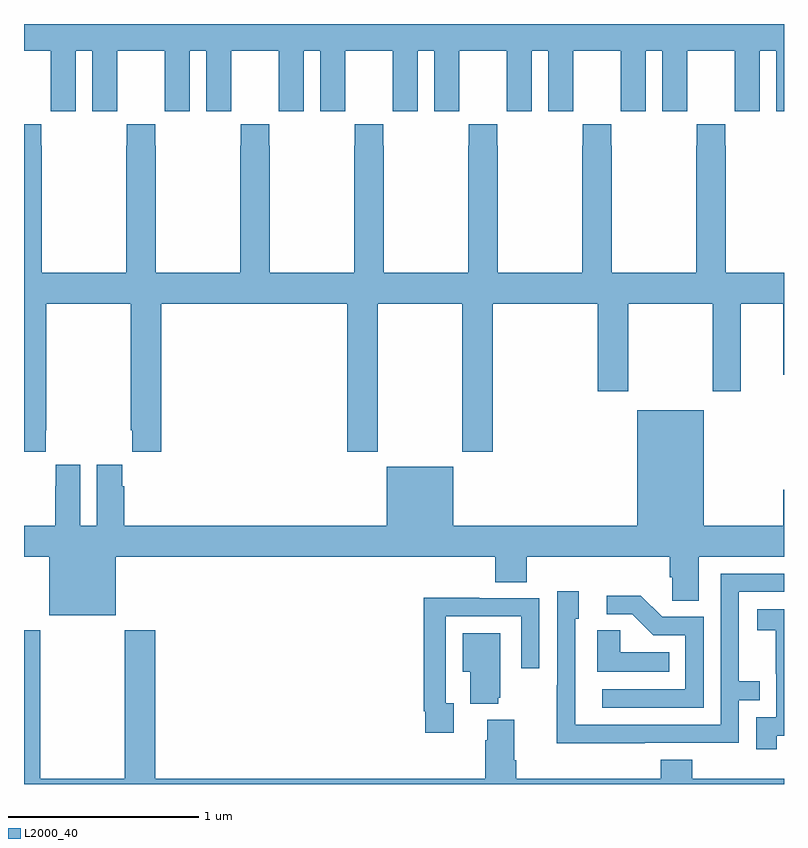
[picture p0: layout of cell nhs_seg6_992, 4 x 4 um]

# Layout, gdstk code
import gdstk
lib = gdstk.Library(unit=1e-6, precision=1e-09)
def P(c, l, *ps):  # polygons
    for p in ps: c.add(gdstk.Polygon(p, *l))
L2000_40 = (2000, 40)

nhs_seg6_992 = lib.new_cell('nhs_seg6_992')
P(nhs_seg6_992, L2000_40, [(173,923.36),(173.141,923.36),(173.141,923.152),(173.142,923.152),(173.142,923.04),(173.272,923.04),(173.272,923.36),(173.36,923.36),(173.36,923.04),(173.49,923.04),(173.49,923.152),(173.491,923.152),(173.491,923.36),(173.741,923.36),(173.741,923.152),(173.742,923.152),(173.742,923.04),(173.872,923.04),(173.872,923.36),(173.96,923.36),(173.96,923.04),(174.09,923.04),(174.09,923.152),(174.091,923.152),(174.091,923.36),(174.341,923.36),(174.341,923.152),(174.342,923.152),(174.342,923.04),(174.472,923.04),(174.472,923.36),(174.56,923.36),(174.56,923.04),(174.69,923.04),(174.69,923.152),(174.691,923.152),(174.691,923.36),(174.941,923.36),(174.941,923.152),(174.942,923.152),(174.942,923.04),(175.072,923.04),(175.072,923.36),(175.16,923.36),(175.16,923.04),(175.29,923.04),(175.29,923.152),(175.291,923.152),(175.291,923.36),(175.541,923.36),(175.541,923.152),(175.542,923.152),(175.542,923.04),(175.672,923.04),(175.672,923.36),(175.76,923.36),(175.76,923.04),(175.89,923.04),(175.89,923.152),(175.891,923.152),(175.891,923.36),(176.141,923.36),(176.141,923.152),(176.142,923.152),(176.142,923.04),(176.272,923.04),(176.272,923.36),(176.36,923.36),(176.36,923.04),(176.49,923.04),(176.49,923.152),(176.491,923.152),(176.491,923.36),(176.741,923.36),(176.741,923.152),(176.742,923.152),(176.742,923.04),(176.872,923.04),(176.872,923.36),(176.96,923.36),(176.96,923.04),(177,923.04),(177,923.5),(173,923.5)],
  [(173.563,921.361),(173.569,921.361),(173.569,921.249),(173.723,921.249),(173.723,922.028),(174.701,922.028),(174.701,921.249),(174.861,921.249),(174.861,922.028),(175.306,922.028),(175.306,921.249),(175.466,921.249),(175.466,922.028),(176.021,922.028),(176.021,921.567),(176.181,921.567),(176.181,922.028),(176.626,922.028),(176.626,921.567),(176.773,921.567),(176.773,922.028),(176.996,922.028),(176.996,921.654),(177,921.654),(177,922.192),(176.694,922.192),(176.694,922.859),(176.691,922.859),(176.691,922.972),(176.541,922.972),(176.541,922.859),(176.539,922.859),(176.539,922.192),(176.094,922.192),(176.094,922.859),(176.091,922.859),(176.091,922.972),(175.941,922.972),(175.941,922.859),(175.939,922.859),(175.939,922.192),(175.494,922.192),(175.494,922.859),(175.491,922.859),(175.491,922.972),(175.341,922.972),(175.341,922.859),(175.339,922.859),(175.339,922.192),(174.894,922.192),(174.894,922.859),(174.891,922.859),(174.891,922.972),(174.741,922.972),(174.741,922.859),(174.739,922.859),(174.739,922.192),(174.294,922.192),(174.294,922.859),(174.291,922.859),(174.291,922.972),(174.141,922.972),(174.141,922.859),(174.139,922.859),(174.139,922.192),(173.694,922.192),(173.694,922.859),(173.691,922.859),(173.691,922.972),(173.541,922.972),(173.541,922.859),(173.539,922.859),(173.539,922.192),(173.094,922.192),(173.094,922.859),(173.091,922.859),(173.091,922.972),(173,922.972),(173,921.249),(173.115,921.249),(173.115,921.361),(173.118,921.361),(173.118,922.028),(173.563,922.028)],
  [(173.482,920.696),(175.481,920.696),(175.481,920.563),(175.646,920.563),(175.646,920.696),(176.399,920.696),(176.399,920.587),(176.412,920.587),(176.412,920.464),(176.551,920.464),(176.551,920.696),(177,920.696),(177,921.049),(176.996,921.049),(176.996,920.86),(176.578,920.86),(176.578,921.466),(176.228,921.466),(176.228,920.86),(175.258,920.86),(175.258,921.169),(174.908,921.169),(174.908,920.86),(173.528,920.86),(173.528,921.068),(173.518,921.068),(173.518,921.181),(173.384,921.181),(173.384,920.86),(173.296,920.86),(173.296,921.181),(173.166,921.181),(173.166,921.068),(173.165,921.068),(173.165,920.86),(173,920.86),(173,920.696),(173.132,920.696),(173.132,920.387),(173.482,920.387)],
  [(176.267,919.716),(176.763,919.716),(176.763,919.941),(176.873,919.941),(176.873,920.042),(176.763,920.042),(176.763,920.511),(177,920.511),(177,920.607),(176.667,920.607),(176.667,919.812),(175.902,919.812),(175.902,920.37),(175.921,920.37),(175.921,920.515),(175.806,920.515),(175.806,920.021),(175.804,920.021),(175.804,919.715),(176.267,919.715)],
  [(176.577,920.379),(176.358,920.379),(176.245,920.492),(176.067,920.492),(176.067,920.394),(176.201,920.394),(176.312,920.283),(176.481,920.283),(176.481,919.998),(176.043,919.998),(176.043,919.902),(176.577,919.902)],
  [(175.261,919.926),(175.221,919.926),(175.221,920.382),(175.617,920.382),(175.617,920.109),(175.713,920.109),(175.713,920.478),(175.397,920.478),(175.397,920.48),(175.105,920.48),(175.105,919.882),(175.113,919.882),(175.113,919.77),(175.261,919.77)],
  [(176.962,919.753),(177,919.753),(177,920.419),(176.859,920.419),(176.859,920.309),(176.957,920.309),(176.957,920.081),(176.958,920.081),(176.958,919.851),(176.853,919.851),(176.853,919.683),(176.962,919.683)],
  [(176.396,920.194),(176.139,920.194),(176.139,920.309),(176.018,920.309),(176.018,920.09),(176.396,920.09)],
  [(175.496,919.953),(175.507,919.953),(175.507,920.293),(175.31,920.293),(175.31,920.09),(175.349,920.09),(175.349,919.922),(175.496,919.922)],
  [(176.516,919.627),(176.351,919.627),(176.351,919.528),(175.592,919.528),(175.592,919.624),(175.579,919.624),(175.579,919.837),(175.439,919.837),(175.439,919.73),(175.427,919.73),(175.427,919.528),(173.69,919.528),(173.69,920.308),(173.53,920.308),(173.53,919.528),(173.085,919.528),(173.085,920.308),(173,920.308),(173,919.5),(177,919.5),(177,919.528),(176.516,919.528)])

lib.write_gds('nhs_seg6_992.gds')
